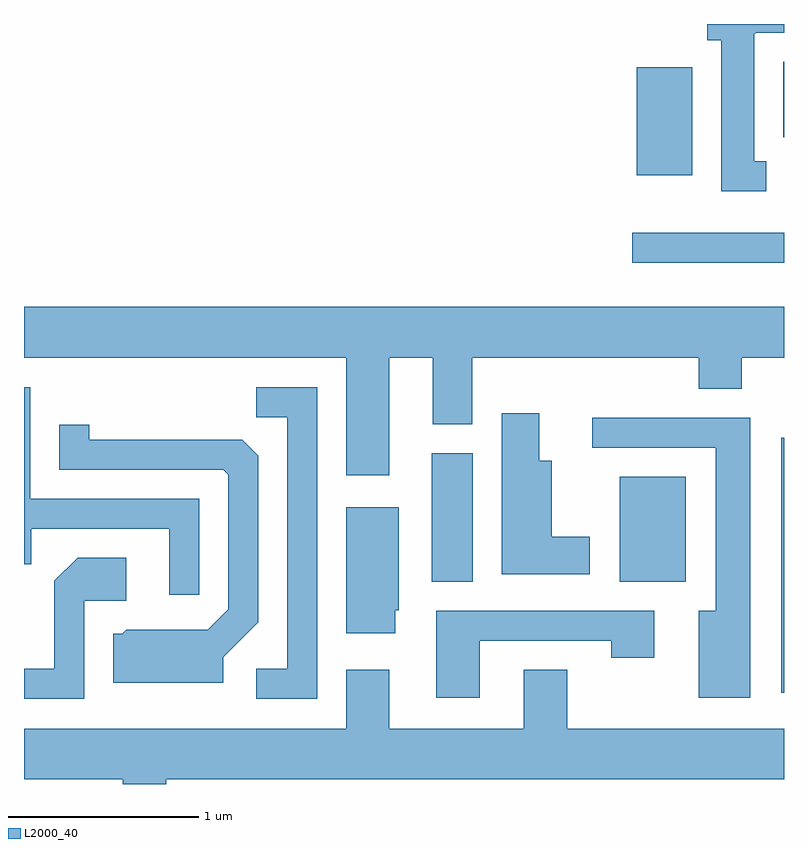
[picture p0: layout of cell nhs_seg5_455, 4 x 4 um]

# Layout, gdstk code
import gdstk
lib = gdstk.Library(unit=1e-6, precision=1e-09)
def R(c, l, rs):  # rectangles x0, y0, x1, y1
    for r in rs: c.add(gdstk.rectangle(r[:2], r[2:], *l))
def P(c, l, *ps):  # polygons
    for p in ps: c.add(gdstk.Polygon(p, *l))
L2000_40 = (2000, 40)

nhs_seg5_455 = lib.new_cell('nhs_seg5_455')
R(nhs_seg5_455, L2000_40, [(201.596,1490.551,201.611,1491.894), (199.756,1491.136,199.974,1491.814), (200.746,1491.136,201.094,1491.689), (200.813,1492.816,201.611,1492.974), (200.836,1493.276,201.129,1493.844), (201.606,1493.476,201.611,1493.874)])
P(nhs_seg5_455, L2000_40, [(201.518,1493.349),(201.454,1493.349),(201.454,1494.02),(201.46,1494.02),(201.46,1494.026),(201.611,1494.026),(201.611,1494.072),(201.206,1494.072),(201.206,1493.986),(201.281,1493.986),(201.281,1493.191),(201.518,1493.191)],
  [(199.534,1492.316),(199.761,1492.316),(199.761,1491.966),(199.969,1491.966),(199.969,1492.316),(201.161,1492.316),(201.161,1492.151),(201.389,1492.151),(201.389,1492.316),(201.611,1492.316),(201.611,1492.584),(197.611,1492.584),(197.611,1492.316),(199.306,1492.316),(199.306,1491.696),(199.534,1491.696)],
  [(199.154,1492.159),(198.833,1492.159),(198.833,1492.001),(198.996,1492.001),(198.996,1490.679),(198.833,1490.679),(198.833,1490.521),(199.154,1490.521)],
  [(198.534,1491.574),(197.644,1491.574),(197.644,1492.159),(197.611,1492.159),(197.611,1491.228),(197.649,1491.228),(197.649,1491.416),(198.376,1491.416),(198.376,1491.068),(198.534,1491.068)],
  [(200.589,1491.374),(200.389,1491.374),(200.389,1491.774),(200.324,1491.774),(200.324,1492.024),(200.126,1492.024),(200.126,1491.176),(200.589,1491.176)],
  [(201.434,1491.999),(200.603,1491.999),(200.603,1491.841),(201.251,1491.841),(201.251,1490.984),(201.161,1490.984),(201.161,1490.526),(201.434,1490.526)],
  [(198.659,1490.739),(198.844,1490.924),(198.844,1491.799),(198.759,1491.884),(197.954,1491.884),(197.954,1491.963),(197.796,1491.963),(197.796,1491.726),(198.659,1491.726),(198.686,1491.699),(198.686,1490.992),(198.579,1490.884),(198.149,1490.884),(198.129,1490.864),(198.081,1490.864),(198.081,1490.606),(198.659,1490.606)],
  [(199.564,1490.986),(199.584,1490.986),(199.584,1491.529),(199.306,1491.529),(199.306,1490.866),(199.564,1490.866)],
  [(197.929,1491.036),(198.149,1491.036),(198.149,1491.264),(197.894,1491.264),(197.771,1491.142),(197.771,1490.679),(197.611,1490.679),(197.611,1490.521),(197.929,1490.521)],
  [(200.009,1490.826),(200.701,1490.826),(200.701,1490.736),(200.929,1490.736),(200.929,1490.984),(199.781,1490.984),(199.781,1490.526),(200.009,1490.526)],
  [(198.359,1490.096),(201.611,1490.096),(201.611,1490.364),(200.469,1490.364),(200.469,1490.674),(200.241,1490.674),(200.241,1490.364),(199.534,1490.364),(199.534,1490.674),(199.306,1490.674),(199.306,1490.364),(197.611,1490.364),(197.611,1490.096),(198.131,1490.096),(198.131,1490.072),(198.359,1490.072)])

lib.write_gds('nhs_seg5_455.gds')
